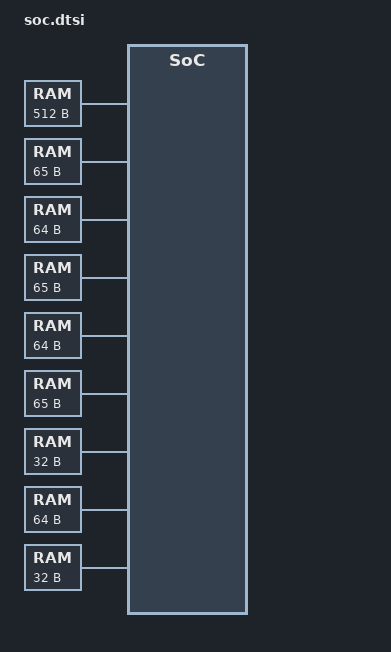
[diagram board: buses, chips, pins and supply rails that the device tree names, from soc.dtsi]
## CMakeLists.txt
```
# Copyright 2026 The ChromiumOS Authors
# Use of this source code is governed by a BSD-style license that can be
# found in the LICENSE file.

set(EXPECTED_ROLLBACK_VERSION 0)

if(NOT CONFIG_PLATFORM_EC_ROLLBACK_VERSION EQUAL EXPECTED_ROLLBACK_VERSION)
	message(FATAL_ERROR "Rollback version has changed! Expected ${EXPECTED_ROLLBACK_VERSION}, but ${CONFIG_PLATFORM_EC_ROLLBACK_VERSION} is set.")
endif()

zephyr_library_sources("src/platform.c")
```

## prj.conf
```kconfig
# Copyright 2026 The ChromiumOS Authors
# Use of this source code is governed by a BSD-style license that can be
# found in the LICENSE file.

CONFIG_BOARD_EM32F967=y

# The NULL pointer exception page size must be a power of two
# and have size greater or equal ARM_MPU_REGION_MIN_ALIGN_AND_SIZE
CONFIG_CORTEX_M_NULL_POINTER_EXCEPTION_PAGE_SIZE=0x80

# Peripherials
CONFIG_GPIO=y
CONFIG_PWM=y
CONFIG_LED=y
CONFIG_LED_PWM=y
CONFIG_LED_GPIO=n
CONFIG_PINCTRL=y
CONFIG_FLASH_EM32=y
CONFIG_SERIAL=y
CONFIG_CONSOLE=y
CONFIG_UART_CONSOLE=y
CONFIG_UART_EM32=y
CONFIG_CLOCK_CONTROL=y
CONFIG_CLOCK_CONTROL_EM32_AHB=y
CONFIG_CLOCK_CONTROL_EM32_APB=y
CONFIG_DYNAMIC_INTERRUPTS=y
CONFIG_IDLE_STACK_SIZE=1024

# Stack and rollback protection
CONFIG_ARM_MPU=y
CONFIG_HW_STACK_PROTECTION=y

# USB for host commands
CONFIG_UDC_DRIVER=y
CONFIG_USB_DEVICE_STACK_NEXT=y
CONFIG_UDC_BUF_POOL_SIZE=2048
CONFIG_EC_HOST_CMD_HANDLER_RX_BUFFER_SIZE=528
CONFIG_EC_HOST_CMD_HANDLER_TX_BUFFER_SIZE=520

# Watchdog
CONFIG_PLATFORM_EC_WATCHDOG_PERIOD_MS=10000
CONFIG_PLATFORM_EC_WATCHDOG_WARNING_LEADING_TIME_MS=3000

# MKBP
CONFIG_PLATFORM_EC_MKBP_USE_GPIO=n
CONFIG_PLATFORM_EC_MKBP_USE_USB=y

# Arch init for RO -> RW jump
CONFIG_INIT_ARCH_HW_AT_BOOT=y

CONFIG_USB_DEVICE_MANUFACTURER="Google"
CONFIG_USB_DEVICE_PRODUCT="FPMCU"
CONFIG_USB_DEVICE_VID=0x18D1
CONFIG_USB_DEVICE_PID=0x5405
CONFIG_USB_DEVICE_SELF_POWERED=n
CONFIG_USB_DEVICE_REMOTE_WAKEUP=y
CONFIG_USB_DEVICE_SN="0"
CONFIG_USB_DEVICE_SN_HWINFO=y
CONFIG_USB_DEVICE_MAX_POWER=250

# Make possibility to enter bootloader
CONFIG_PLATFORM_EC_HOST_COMMAND_ENTER_BOOTLOADER=y

# No access to hardware WP pin, use external method
CONFIG_PLATFORM_EC_WP_EXTERNAL=y

# Make sure to start shell before main
CONFIG_PLATFORM_EC_CONSOLE_START_SHELL_TASK=y

# TODO(b/450715297): Enable power saving mode once supported
CONFIG_PM=n
CONFIG_PM_DEVICE=n

# Current rollback version value.
CONFIG_PLATFORM_EC_ROLLBACK_VERSION=1

# Enable signaling logs via events to allow autosuspend
CONFIG_PLATFORM_EC_HOSTCMD_CONSOLE_EVENT=y

# ASCP s_goog replacement
CONFIG_ASCP_S_GOOG_MATCH_FILE="s_goog_match.bin"
CONFIG_ASCP_S_GOOG_REPLACE_FILE="s_goog_replace.bin"
```

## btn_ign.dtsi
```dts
/* Copyright 2026 The ChromiumOS Authors
 * Use of this source code is governed by a BSD-style license that can be
 * found in the LICENSE file.
 */

/ {
	aliases {
		gpio-btn-ign-out = &gpio_btn_ign_out;
	};

	gpio-leds {
		compatible = "gpio-leds"; /* Common pattern in Zephyr for GPIO outputs */

		gpio_btn_ign_out: gpio_btn_ign_out {
			gpios = <&gpiob 9 GPIO_ACTIVE_HIGH>;
		};
	};
};
```

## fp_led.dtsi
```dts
/* Copyright 2026 The ChromiumOS Authors.
 * Use of this source code is governed by a BSD-style license that can be
 * found in the LICENSE file.
 */

/{
	pwmleds {
		compatible = "pwm-leds";

		fp_led: fp_led {
			pwms = <&pwm0 1 PWM_MSEC(20) PWM_POLARITY_NORMAL>;
		};
	};

	gpio-keys {
		compatible = "gpio-keys";

		gpio_lid_open: gpio_lid_open {
			gpios = <&gpiob 8 (GPIO_PULL_UP | GPIO_ACTIVE_HIGH)>;
		};
	};

	aliases {
		pwm-fp-led = &fp_led;
		gpio-lid-open = &gpio_lid_open;
	};
};
```

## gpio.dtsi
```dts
/* Copyright 2026 The ChromiumOS Authors.
 * Use of this source code is governed by a BSD-style license that can be
 * found in the LICENSE file.
 */

#include <dt-bindings/gpio_defines.h>

/ {
	named-gpios {
		compatible = "named-gpios";

		/* unimplemented GPIOs */
		entering-rw {
			enum-name = "GPIO_ENTERING_RW";
		};

		gpio_btn_ign_out: gpio_btn_ign_out {
			gpios = <&gpiob 9 GPIO_OUTPUT_INACTIVE>;
		};
	};
};
```

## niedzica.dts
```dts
/* Copyright 2026 The ChromiumOS Authors.
 * Use of this source code is governed by a BSD-style license that can be
 * found in the LICENSE file.
 */

#include "common.dtsi"

/ {
	zephyr,user {
		lid-open-gpios = <&gpiob 8 (GPIO_PULL_UP | GPIO_ACTIVE_HIGH)>;
	};
};

#define ELANI80SA_COMMON_IMAGE_PROPS \
	width = <80>; \
	height = <80>; \
	bits-per-pixel = <8>; \
	frame-size = <12800>; \
	image-data-offset-bytes = <6400>; \
	v4l2-pixel-format = "V4L2_PIX_FMT_GREY";


&spi2 {
	fp_sensor: elani80sa@0 {
		compatible = "elan,elani80sa";
		reg = <0>;
		spi-max-frequency = <8000000>;

		configs {
			compatible = "fingerprint-image-frame-params";
			config0 {
				ELANI80SA_COMMON_IMAGE_PROPS
				capture-type = "FINGERPRINT_CAPTURE_TYPE_VENDOR_FORMAT";
			};
			config1 {
				ELANI80SA_COMMON_IMAGE_PROPS
				capture-type = "FINGERPRINT_CAPTURE_TYPE_SIMPLE_IMAGE";
			};
			config2 {
				ELANI80SA_COMMON_IMAGE_PROPS
				capture-type = "FINGERPRINT_CAPTURE_TYPE_PATTERN0";
			};
			config3 {
				ELANI80SA_COMMON_IMAGE_PROPS
				capture-type = "FINGERPRINT_CAPTURE_TYPE_PATTERN1";
			};
			config4 {
				ELANI80SA_COMMON_IMAGE_PROPS
				capture-type = "FINGERPRINT_CAPTURE_TYPE_QUALITY_TEST";
			};
			config5 {
				ELANI80SA_COMMON_IMAGE_PROPS
				capture-type = "FINGERPRINT_CAPTURE_TYPE_RESET_TEST";
			};
		};

		irq-gpios = <&gpioa 15 GPIO_ACTIVE_HIGH>;
		reset-gpios = <&gpioa 14 GPIO_ACTIVE_LOW>;
		base-image = <&base_image>;
		ft-info = <&ft_info>;
	};
};
```

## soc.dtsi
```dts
/* Copyright 2026 The ChromiumOS Authors.
 * Use of this source code is governed by a BSD-style license that can be
 * found in the LICENSE file.
 */

#include <cros/elan/em32f967.dtsi>

/*
 * Use 271kB of RAM. Some of it is reserved for hw accelarator which is not used.
 * Make also 512b space for SDCP.
 */
&sram0 {
	/* Round down to kB, because the SRAM_SIZE config uses kB as SRAM
	 * size
	 */
	reg = <0x20000000 DT_SIZE_K(271)>;
};

/ {
	sdcp: memory@20043e00 {
		compatible = "mmio-sram";
		reg = <0x20043e00 512>;
	};

	sdcp_pk_m: memory@20043E14 {
		compatible = "mmio-sram";
		reg = <0x20043E14 65>;
	};

	sdcp_s_goog: memory@20043E55 {
		compatible = "mmio-sram";
		reg = <0x20043E55 64>;
	};

	sdcp_pk_d: memory@20043F35 {
		compatible = "mmio-sram";
		reg = <0x20043F35 65>;
	};

	sdcp_s_m: memory@20043E95 {
		compatible = "mmio-sram";
		reg = <0x20043E95 64>;
	};

	sdcp_pk_f: memory@20043F76 {
		compatible = "mmio-sram";
		reg = <0x20043F76 65>;
	};

	sdcp_h_f: memory@20043ED5 {
		compatible = "mmio-sram";
		reg = <0x20043ED5 32>;
	};

	sdcp_s_d: memory@20043EF5 {
		compatible = "mmio-sram";
		reg = <0x20043EF5 64>;
	};

	sdcp_sk_f: memory@20043FB7 {
		compatible = "mmio-sram";
		reg = <0x20043FB7 32>;
	};
};
```

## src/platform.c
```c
/* Copyright 2026 The ChromiumOS Authors
 * Use of this source code is governed by a BSD-style license that can be
 * found in the LICENSE file.
 */

#include "system.h"
#include "write_protect.h"

/* TODO(b/446109143): Change based on the final solution of WP state. */
bool write_protect_is_asserted_external(void)
{
	return false;
}

/* Actual implementation is placed in the private repository. */
__weak void chip_enter_bootloader(uint8_t mode)
{
}
```
